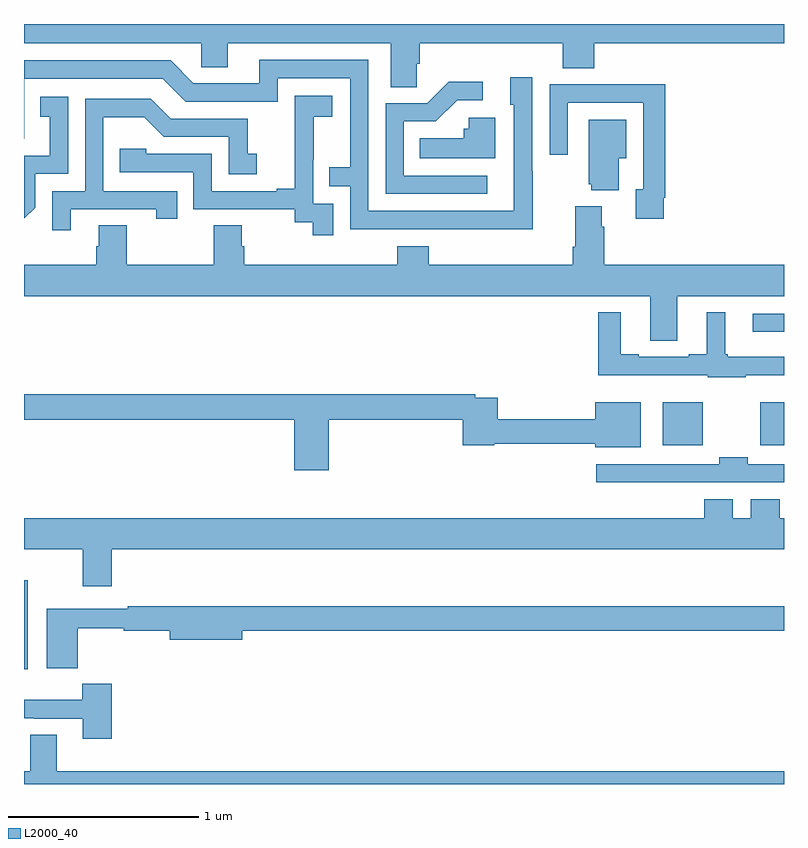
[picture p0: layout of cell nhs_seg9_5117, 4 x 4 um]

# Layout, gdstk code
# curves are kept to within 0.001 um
import gdstk
lib = gdstk.Library(unit=1e-6, precision=1e-09)
def R(c, l, rs):  # rectangles x0, y0, x1, y1
    for r in rs: c.add(gdstk.rectangle(r[:2], r[2:], *l))
def P(c, l, *ps):  # polygons
    for p in ps: c.add(gdstk.Polygon(p, *l))
L2000_40 = (2000, 40)

nhs_seg9_5117 = lib.new_cell('nhs_seg9_5117')
R(nhs_seg9_5117, L2000_40, [(407,1213.104,407.02,1213.573), (410.363,1214.282,410.572,1214.509), (410.876,1214.282,411,1214.509), (410.835,1214.88,411,1214.976)])
P(nhs_seg9_5117, L2000_40, [(409.068,1216.291),(409.082,1216.291),(409.082,1216.4),(409.835,1216.4),(409.835,1216.267),(410,1216.267),(410,1216.4),(411,1216.4),(411,1216.5),(407,1216.5),(407,1216.4),(407.934,1216.4),(407.934,1216.273),(408.073,1216.273),(408.073,1216.4),(408.929,1216.4),(408.929,1216.168),(409.068,1216.168)],
  [(409.677,1215.725),(409.674,1215.725),(409.674,1216.219),(409.559,1216.219),(409.559,1216.074),(409.578,1216.074),(409.577,1215.516),(408.813,1215.516),(408.813,1216.311),(408.239,1216.311),(408.239,1216.188),(407.892,1216.188),(407.772,1216.308),(407,1216.308),(407,1215.897),(407.001,1216.212),(407.73,1216.212),(407.85,1216.092),(408.336,1216.092),(408.336,1216.215),(408.717,1216.215),(408.717,1215.746),(408.607,1215.746),(408.607,1215.645),(408.717,1215.645),(408.717,1215.42),(409.677,1215.419)],
  [(409.438,1215.702),(408.999,1215.702),(408.999,1215.987),(409.168,1215.987),(409.279,1216.098),(409.414,1216.098),(409.414,1216.196),(409.235,1216.196),(409.122,1216.083),(408.903,1216.083),(408.903,1215.606),(409.438,1215.606)],
  [(410.368,1215.586),(410.375,1215.586),(410.375,1216.184),(410.083,1216.184),(410.083,1216.182),(409.767,1216.182),(409.767,1215.813),(409.863,1215.813),(409.863,1216.086),(410.259,1216.086),(410.259,1215.63),(410.219,1215.63),(410.219,1215.474),(410.368,1215.474)],
  [(408.627,1215.555),(408.522,1215.555),(408.522,1215.785),(408.524,1215.785),(408.524,1216.013),(408.622,1216.013),(408.622,1216.123),(408.424,1216.123),(408.424,1215.917),(408.425,1215.917),(408.425,1215.634),(408.329,1215.634),(408.329,1215.621),(407.988,1215.621),(407.988,1215.816),(407.643,1215.816),(407.643,1215.843),(407.503,1215.843),(407.503,1215.72),(407.892,1215.72),(407.892,1215.525),(408.426,1215.525),(408.426,1215.457),(408.519,1215.457),(408.519,1215.387),(408.627,1215.387)],
  [(407.058,1215.534),(407.058,1215.711),(407.232,1215.711),(407.232,1216.117),(407.086,1216.117),(407.086,1216.011),(407.135,1216.011),(407.135,1215.807),(407,1215.807),(407,1215.477)],
  [(407.245,1215.525),(407.696,1215.525),(407.696,1215.474),(407.807,1215.474),(407.807,1215.621),(407.418,1215.621),(407.418,1216.01),(407.632,1216.01),(407.736,1215.906),(408.078,1215.906),(408.078,1215.708),(408.226,1215.708),(408.226,1215.817),(408.177,1215.817),(408.177,1216.002),(407.773,1216.002),(407.668,1216.107),(407.322,1216.107),(407.322,1215.621),(407.148,1215.621),(407.148,1215.414),(407.245,1215.414)],
  [(409.48,1216.006),(409.341,1216.006),(409.341,1215.948),(409.315,1215.948),(409.315,1215.898),(409.084,1215.898),(409.084,1215.794),(409.48,1215.794)],
  [(410.131,1215.794),(410.17,1215.794),(410.17,1215.997),(409.973,1215.997),(409.973,1215.657),(409.985,1215.657),(409.985,1215.626),(410.131,1215.626)],
  [(410.437,1215.068),(411,1215.068),(411,1215.232),(410.054,1215.232),(410.054,1215.434),(410.041,1215.434),(410.041,1215.541),(409.901,1215.541),(409.901,1215.328),(409.889,1215.328),(409.889,1215.232),(409.13,1215.232),(409.13,1215.331),(408.965,1215.331),(408.965,1215.232),(408.158,1215.232),(408.158,1215.33),(408.145,1215.33),(408.145,1215.44),(407.998,1215.44),(407.998,1215.232),(407.541,1215.232),(407.541,1215.44),(407.393,1215.44),(407.393,1215.33),(407.381,1215.33),(407.381,1215.232),(407,1215.232),(407,1215.068),(410.297,1215.068),(410.297,1214.833),(410.437,1214.833)],
  [(410.798,1214.651),(411,1214.651),(411,1214.749),(410.704,1214.749),(410.704,1214.761),(410.692,1214.761),(410.692,1214.983),(410.594,1214.983),(410.594,1214.761),(410.498,1214.761),(410.498,1214.748),(410.236,1214.748),(410.236,1214.761),(410.14,1214.761),(410.14,1214.983),(410.023,1214.983),(410.023,1214.651),(410.598,1214.651),(410.598,1214.64),(410.798,1214.64)],
  [(408.605,1214.416),(409.31,1214.416),(409.31,1214.284),(409.476,1214.284),(409.476,1214.292),(410.006,1214.292),(410.006,1214.273),(410.245,1214.273),(410.245,1214.509),(410.006,1214.509),(410.006,1214.42),(409.493,1214.42),(409.493,1214.532),(409.376,1214.532),(409.376,1214.552),(407,1214.552),(407,1214.416),(408.422,1214.416),(408.422,1214.151),(408.605,1214.151)],
  [(410.558,1214.088),(411,1214.088),(411,1214.184),(410.808,1214.184),(410.808,1214.22),(410.658,1214.22),(410.658,1214.184),(410.013,1214.184),(410.013,1214.087),(410.558,1214.087)],
  [(407,1213.736),(407.309,1213.736),(407.309,1213.542),(407.462,1213.542),(407.462,1213.736),(411,1213.736),(411,1213.9),(410.978,1213.9),(410.978,1213.999),(410.825,1213.999),(410.825,1213.9),(410.731,1213.9),(410.731,1213.999),(410.579,1213.999),(410.579,1213.9),(407,1213.9)],
  [(407.282,1213.321),(407.526,1213.321),(407.526,1213.306),(407.768,1213.306),(407.768,1213.259),(408.148,1213.259),(408.148,1213.306),(411,1213.306),(411,1213.435),(407.545,1213.435),(407.545,1213.422),(407.12,1213.422),(407.12,1213.109),(407.282,1213.109)],
  [(407.462,1213.027),(407.307,1213.027),(407.307,1212.943),(407,1212.943),(407,1212.846),(407.053,1212.846),(407.053,1212.843),(407.309,1212.843),(407.309,1212.738),(407.462,1212.738)],
  [(411,1212.568),(407.173,1212.568),(407.173,1212.758),(407.033,1212.758),(407.033,1212.568),(407,1212.568),(407,1212.5),(411,1212.5)])

lib.write_gds('nhs_seg9_5117.gds')
